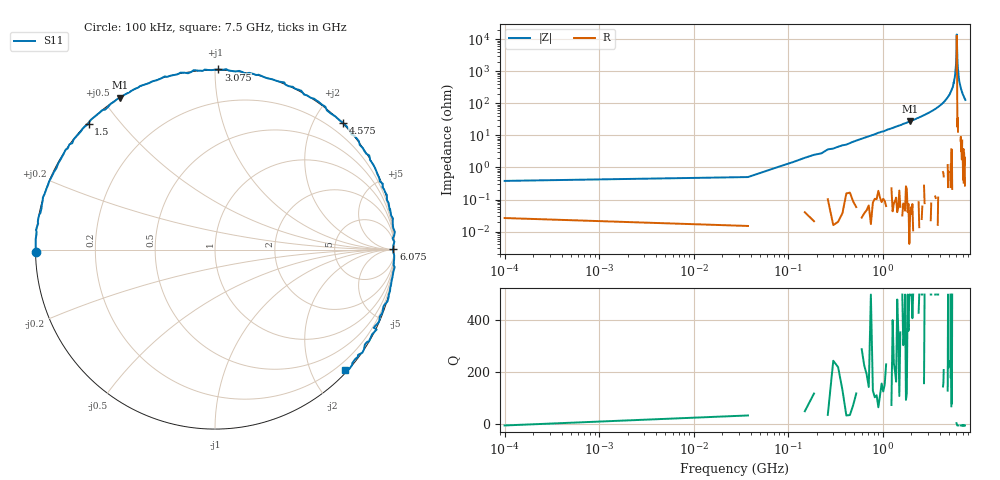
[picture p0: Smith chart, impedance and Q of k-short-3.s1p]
# Hz S DB R 50.000000
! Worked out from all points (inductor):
!   201 points, 100 kHz to 7.5 GHz, reference 50 ohm
!   read as one part to ground: L = 2.11 nH near 37.6 MHz
!   highest Q = 813 at 1.95 GHz (marker M1), where L = 2.26 nH
!   self-resonance near 6.075 GHz
!   S11 on the Smith chart (normalised r, x): 100 kHz: 0.00, -0.01; 1.5 GHz: 0.00, +0.41; 3.075 GHz: -0.00, +1.02; 4.575 GHz: -0.01, +2.43; 6.075 GHz: open; 7.5 GHz: 0.04, -2.55
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100000  -0.01 -179.1
2.62593e8  -0.04 171.6
5.62585e8  0.02 163.1
9.37575e8  -0.04 151.9
1.50006e9  -0.06 135.1
1.575058e9  0.01 133.7
1.87505e9  -0.02 124.3
1.950048e9  -0.01 122.1
2.475034e9  0.04 106.1
2.812525e9  0.06 96.8
3.075018e9  0.03 88.9
3.75e9  0.02 69.1
4.237487e9  0.05 55.2
4.574978e9  0.03 44.7
4.687475e9  0.01 41.3
5.099964e9  -0.02 30.1
5.512453e9  0.04 17.6
5.62495e9  -0.02 12.7
5.662449e9  0.01 13.0
5.887443e9  0.06 5.6
6.074938e9  -0.06 0.2
6.299932e9  0.05 -5.6
6.562425e9  0.00 -14.5
6.899916e9  -0.03 -24.0
6.937415e9  -0.12 -26.2
6.974914e9  0.04 -26.3
7.087411e9  -0.01 -30.8
7.4999e9  -0.09 -42.8
